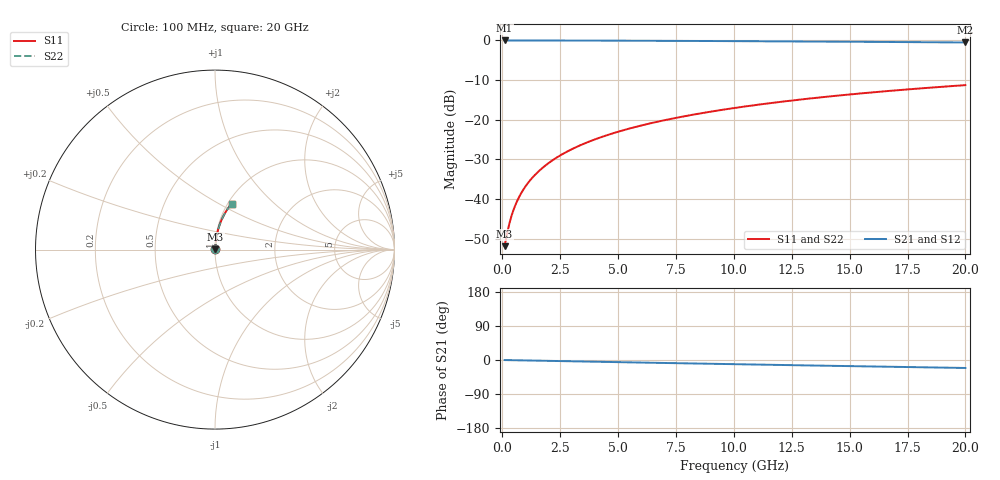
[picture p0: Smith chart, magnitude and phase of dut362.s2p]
! Touchstone file exported from HFSS 2024.1.0
!  File:  C:/UserFiles/LocalFiles/RDL_TSV_Batchsim/temp_RDL_bottom_362_1779612850.aedt
!  Generated:  04:57:27 PM May 24, 2026
!  Design:  RDL_bottom
!  Project:  temp_RDL_bottom_362_1779612850
!  Setup:  Setup1
!  Solution:  Sweep
! Variables:
!  dtsv = 10.80580581um
!  hbump = 3um
!  htsv = 75.14um
!  ldown = 240.58um
!  lrdl = 100um
!  p = 40
!  p1 = 44.02um
!  rhole = 1um
!  t = 450um
!  tdown = 4.21um
!  trdl = 3.915915916um
!  wdown = 10.22um
!  wrdl = 20um
# GHz S MA R 50.000000
! Terminal data exported
! Port[1] = RDL1_T1
! Port[2] = RDL1_T2
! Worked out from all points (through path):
!   200 points, 100 MHz to 20 GHz, reference 50 ohm
!   highest |S21| = -0.02 dB at 100 MHz (marker M1); lowest = -0.5 dB at 20 GHz (marker M2)
!   group delay of S21, straight-line fit = 2.91 ps
!   lowest |S11| = -51.9 dB at 100 MHz (marker M3), VSWR 1.01, Z = 50.2 + j0.145 ohm
!   |S11| at or under -10 dB: start of sweep to end of sweep
!   |S22| runs from -51.9 to -11.3 dB; largest |S21 - S12| = 3.1e-15
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0.1  0.002534 34.9  0.9979 -0.1  0.9979 -0.1  0.002534 34.9
! Gamma 0 0 0 0
! Port Impedance 50 0 50 0
0.2  0.003576 53.9  0.9979 -0.2  0.9979 -0.2  0.003576 53.9
0.3  0.004823 63.6  0.9979 -0.4  0.9979 -0.4  0.004823 63.6
0.4  0.006141 69.1  0.9978 -0.5  0.9978 -0.5  0.006141 69.1
0.5  0.007489 72.6  0.9978 -0.6  0.9978 -0.6  0.007489 72.6
0.6  0.008852 75.0  0.9977 -0.7  0.9977 -0.7  0.008852 75.0
0.8  0.0116 78.1  0.9976 -0.9  0.9976 -0.9  0.0116 78.1
1.1  0.01576 80.7  0.9974 -1.3  0.9974 -1.3  0.01576 80.7
1.5  0.02134 82.4  0.9971 -1.7  0.9971 -1.7  0.02134 82.4
1.8  0.02553 83.1  0.9969 -2.1  0.9969 -2.1  0.02553 83.1
2.1  0.02973 83.6  0.9966 -2.4  0.9966 -2.4  0.02973 83.6
2.7  0.03814 83.9  0.9959 -3.1  0.9959 -3.1  0.03814 83.9
3.5  0.04936 84.0  0.9947 -4.0  0.9947 -4.0  0.04936 84.0
4.2  0.05917 83.7  0.9935 -4.8  0.9935 -4.8  0.05917 83.7
5  0.07037 83.3  0.9919 -5.7  0.9919 -5.7  0.07037 83.3
5.9  0.08296 82.8  0.9899 -6.7  0.9899 -6.7  0.08296 82.8
6.8  0.09553 82.1  0.9877 -7.7  0.9877 -7.7  0.09553 82.1
8.3  0.1164 80.9  0.9836 -9.3  0.9836 -9.3  0.1164 80.9
10.1  0.1414 79.4  0.9782 -11.2  0.9782 -11.2  0.1414 79.4
13.4  0.1865 76.4  0.9672 -14.6  0.9672 -14.6  0.1865 76.4
16.7  0.2303 73.3  0.9548 -17.8  0.9548 -17.8  0.2303 73.3
20  0.2725 70.1  0.9414 -21.0  0.9414 -21.0  0.2725 70.1
